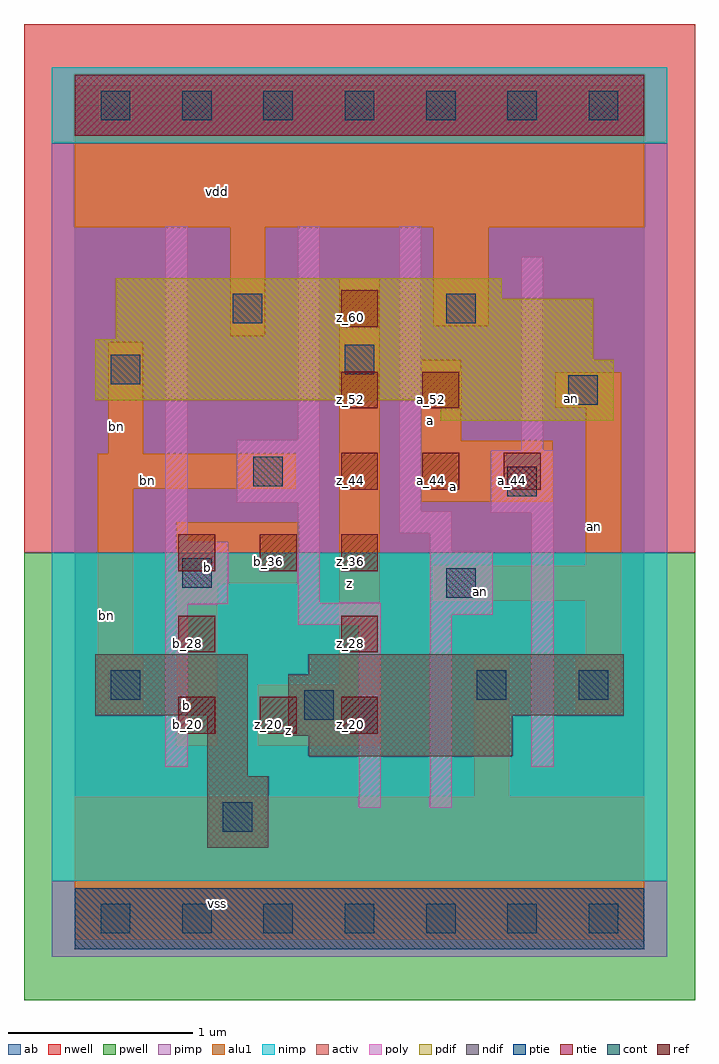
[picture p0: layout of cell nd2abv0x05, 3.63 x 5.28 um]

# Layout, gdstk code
import gdstk
lib = gdstk.Library(unit=1e-6, precision=2.5e-09)
def R(c, l, rs):  # rectangles x0, y0, x1, y1
    for r in rs: c.add(gdstk.rectangle(r[:2], r[2:], *l))
def A(c, l, x, y, w, h, nx, ny, dx, dy):  # array of equal rectangles
    R(c, l, [(x+i*dx, y+j*dy, x+i*dx+w, y+j*dy+h) for i in range(nx) for j in range(ny)])
ndif = (3, 0)
pdif = (4, 0)
ntie = (5, 0)
ptie = (6, 0)
ref = (24, 0)
cont = (25, 0)
pwell = (41, 0)
nwell = (42, 0)
activ = (43, 0)
pimp = (44, 0)
nimp = (45, 0)
poly = (46, 0)
alu1 = (49, 0)
ab = (63, 0)

nd2abv0x05 = lib.new_cell('nd2abv0x05')
R(nd2abv0x05, ndif, [(0.715,0.385,1.045,0.77), (0.715,0.77,0.935,1.1), (1.265,0.88,2.365,0.99), (1.155,0.99,2.365,1.1), (0.11,1.1,0.935,1.43), (1.155,1.1,2.97,1.32), (1.265,1.32,2.97,1.43)])
R(nd2abv0x05, pdif, [(1.98,2.695,2.915,2.805), (0.11,2.805,2.915,3.025), (0.11,3.025,2.805,3.135), (0.22,3.135,2.805,3.355), (0.22,3.355,2.31,3.465)])
R(nd2abv0x05, ntie, [(0,4.235,3.08,4.565)])
R(nd2abv0x05, ptie, [(0,-0.165,3.08,0.165)])
A(nd2abv0x05, ref, 0.56, 1, 0.2, 0.2, 3, 2, 0.44, 0.88)
A(nd2abv0x05, ref, 1.44, 2.32, 0.2, 0.2, 3, 1, 0.44, 0)
R(nd2abv0x05, ref, [(0.56,1.44,0.76,1.64), (1.44,1.44,1.64,1.64), (1.44,2.76,1.64,2.96), (1.88,2.76,2.08,2.96), (1.44,3.2,1.64,3.4)])
A(nd2abv0x05, cont, 0.14, -0.08, 0.16, 0.16, 7, 2, 0.44, 4.4)
R(nd2abv0x05, cont, [(0.8,0.47,0.96,0.63), (1.24,1.075,1.4,1.235), (0.195,1.185,0.355,1.345), (2.175,1.185,2.335,1.345), (2.725,1.185,2.885,1.345), (2.01,1.735,2.17,1.895), (0.58,1.79,0.74,1.95), (2.34,2.285,2.5,2.445), (0.965,2.34,1.125,2.5), (2.67,2.78,2.83,2.94), (0.195,2.89,0.355,3.05), (1.46,2.945,1.62,3.105), (0.855,3.22,1.015,3.38), (2.01,3.22,2.17,3.38)])
R(nd2abv0x05, pwell, [(-0.275,-0.44,3.355,1.98)])
R(nd2abv0x05, nwell, [(-0.275,1.98,3.355,4.84)])
R(nd2abv0x05, activ, [(0,-0.165,3.08,0.165), (0.715,0.385,1.045,0.77), (0.715,0.77,0.935,1.1), (1.265,0.88,2.365,0.99), (1.155,0.99,2.365,1.1), (0.11,1.1,0.935,1.43), (1.155,1.1,2.97,1.32), (1.265,1.32,2.97,1.43), (1.98,2.695,2.915,2.805), (0.11,2.805,2.915,3.025), (0.11,3.025,2.805,3.135), (0.22,3.135,2.805,3.355), (0.22,3.355,2.31,3.465), (0,4.235,3.08,4.565)])
R(nd2abv0x05, pimp, [(-0.125,-0.205,3.205,0.205), (-0.125,1.98,3.205,4.195)])
R(nd2abv0x05, nimp, [(-0.125,0.205,3.205,1.98), (-0.125,4.195,3.205,4.605)])
R(nd2abv0x05, poly, [(1.535,0.6,1.655,1.59), (1.92,0.6,2.04,1.645), (0.49,0.82,0.61,1.7), (2.47,0.82,2.59,2.195), (1.205,1.59,1.655,1.71), (1.92,1.645,2.26,1.985), (0.49,1.7,0.83,2.04), (1.205,1.71,1.325,2.25), (1.92,1.985,2.04,2.085), (0.49,2.04,0.61,3.745), (1.755,2.085,2.04,2.205), (2.25,2.195,2.59,2.535), (1.755,2.205,1.875,3.745), (0.875,2.25,1.325,2.59), (2.415,2.535,2.535,3.58), (1.205,2.59,1.325,3.745)])
R(nd2abv0x05, alu1, [(0,-0.11,3.08,0.66), (2.16,0.66,2.35,1.415), (0.55,0.935,0.77,1.815), (0.99,0.935,1.65,1.265), (0.125,1.115,0.37,1.415), (2.71,1.115,2.955,1.415), (1.43,1.265,1.65,3.465), (0.125,1.415,0.315,2.325), (2.765,1.415,2.955,1.72), (1.94,1.72,2.955,1.91), (0.55,1.815,1.21,2.145), (2.765,1.91,2.955,2.765), (1.87,2.255,2.585,2.585), (0.125,2.325,1.195,2.515), (0.18,2.515,0.37,3.12), (1.87,2.585,2.09,3.025), (2.6,2.765,2.955,2.955), (0.84,3.15,1.03,3.74), (1.94,3.205,2.24,3.74), (0,3.74,3.08,4.51)])
R(nd2abv0x05, ab, [(0,0,3.08,4.4)])
nd2abv0x05.add(gdstk.Label('vss', (0.77,0.0825), layer=49, texttype=0))
nd2abv0x05.add(gdstk.Label('z', (1.155,1.0175), layer=49, texttype=0))
nd2abv0x05.add(gdstk.Label('an', (2.1925,1.7675), layer=49, texttype=0))
nd2abv0x05.add(gdstk.Label('an', (2.8125,2.1225), layer=49, texttype=0))
nd2abv0x05.add(gdstk.Label('a', (2.0475,2.3375), layer=49, texttype=0))
nd2abv0x05.add(gdstk.Label('an', (2.6875,2.8125), layer=49, texttype=0))
nd2abv0x05.add(gdstk.Label('a', (1.925,2.695), layer=49, texttype=0))
nd2abv0x05.add(gdstk.Label('z', (1.485,1.815), layer=49, texttype=0))
nd2abv0x05.add(gdstk.Label('b', (0.605,1.155), layer=49, texttype=0))
nd2abv0x05.add(gdstk.Label('b', (0.715,1.8975), layer=49, texttype=0))
nd2abv0x05.add(gdstk.Label('bn', (0.1725,1.6425), layer=49, texttype=0))
nd2abv0x05.add(gdstk.Label('bn', (0.3925,2.3725), layer=49, texttype=0))
nd2abv0x05.add(gdstk.Label('bn', (0.2275,2.665), layer=49, texttype=0))
nd2abv0x05.add(gdstk.Label('vdd', (0.77,3.9325), layer=49, texttype=0))
nd2abv0x05.add(gdstk.Label('b_20', (0.61,1.05), layer=24, texttype=0))
nd2abv0x05.add(gdstk.Label('b_28', (0.61,1.49), layer=24, texttype=0))
nd2abv0x05.add(gdstk.Label('b_36', (0.61,1.93), layer=24, texttype=0))
nd2abv0x05.add(gdstk.Label('z_20', (1.05,1.05), layer=24, texttype=0))
nd2abv0x05.add(gdstk.Label('b_36', (1.05,1.93), layer=24, texttype=0))
nd2abv0x05.add(gdstk.Label('z_20', (1.49,1.05), layer=24, texttype=0))
nd2abv0x05.add(gdstk.Label('z_28', (1.49,1.49), layer=24, texttype=0))
nd2abv0x05.add(gdstk.Label('z_36', (1.49,1.93), layer=24, texttype=0))
nd2abv0x05.add(gdstk.Label('z_44', (1.49,2.37), layer=24, texttype=0))
nd2abv0x05.add(gdstk.Label('z_52', (1.49,2.81), layer=24, texttype=0))
nd2abv0x05.add(gdstk.Label('z_60', (1.49,3.25), layer=24, texttype=0))
nd2abv0x05.add(gdstk.Label('a_44', (1.93,2.37), layer=24, texttype=0))
nd2abv0x05.add(gdstk.Label('a_52', (1.93,2.81), layer=24, texttype=0))
nd2abv0x05.add(gdstk.Label('a_44', (2.37,2.37), layer=24, texttype=0))

lib.write_gds('nd2abv0x05.gds')
